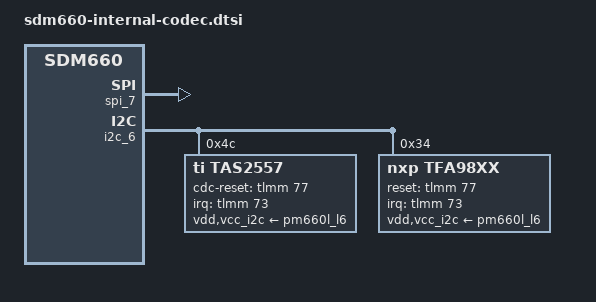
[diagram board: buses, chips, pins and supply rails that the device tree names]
/* Copyright (c) 2017, The Linux Foundation. All rights reserved.
 * Copyright (C) 2018 XiaoMi, Inc.
 *
 * This program is free software; you can redistribute it and/or modify
 * it under the terms of the GNU General Public License version 2 and
 * only version 2 as published by the Free Software Foundation.
 *
 * This program is distributed in the hope that it will be useful,
 * but WITHOUT ANY WARRANTY; without even the implied warranty of
 * MERCHANTABILITY or FITNESS FOR A PARTICULAR PURPOSE.  See the
 * GNU General Public License for more details.
*/

&spi_7 {
	status = "ok";
};

&int_codec {
	qcom,wsa-disable;
};

&i2c_6 { /* SmartPA TI */
	status = "okay";
	tas2557@4c {
			compatible = "ti,tas2557";
			reg = <0x4c>;
			#ti,load = <0>;   /* 0, 8Ohm; 1, 6Ohm; 2, 4Ohm */
			#ti,channel = <0>;   /* 0, left channel; 1, right channel */
			i2c-pull-up;
			vdd-supply = <&pm660l_l6>;
			vcc_i2c-supply = <&pm660l_l6>;
			ti,cdc-reset-gpio = <&tlmm 77 0>;
			ti,irq-gpio = <&tlmm 73 0>;
			ti,i2s-bits = <16>;
			status = "ok";
		};

	tfa98xx@34 {
			compatible = "nxp,tfa98xx";
			reg = <0x34>;
			i2c-pull-up;
			vdd-supply = <&pm660l_l6>;
			vcc_i2c-supply = <&pm660l_l6>;
			reset-gpio = <&tlmm 77 0>;
			irq-gpio = <&tlmm 73 0>;
			status = "ok";
		};
};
